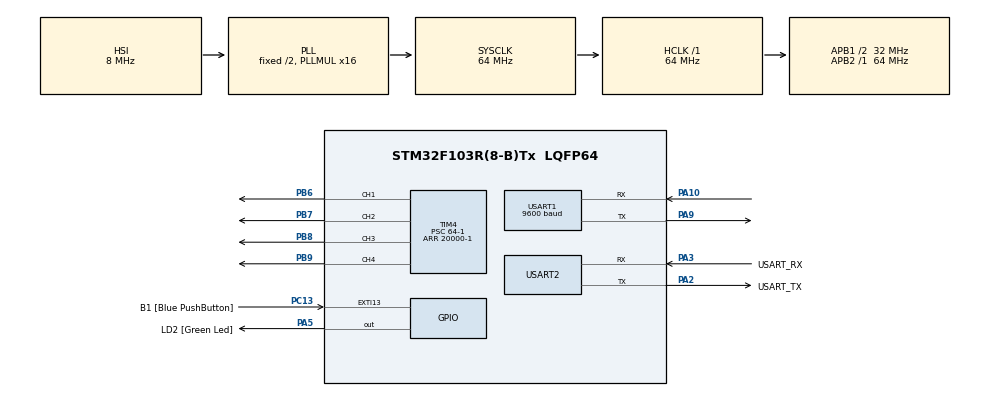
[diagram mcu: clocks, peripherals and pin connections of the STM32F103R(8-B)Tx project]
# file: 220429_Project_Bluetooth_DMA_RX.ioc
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Dma.Request0=USART1_RX
Dma.USART1_RX.0.Direction=DMA_PERIPH_TO_MEMORY
Dma.USART1_RX.0.Instance=DMA1_Channel5
Dma.USART1_RX.0.MemDataAlignment=DMA_MDATAALIGN_WORD
Dma.USART1_RX.0.MemInc=DMA_MINC_ENABLE
Dma.USART1_RX.0.Mode=DMA_CIRCULAR
Dma.USART1_RX.0.PeriphDataAlignment=DMA_PDATAALIGN_WORD
Dma.USART1_RX.0.PeriphInc=DMA_PINC_DISABLE
Dma.USART1_RX.0.Priority=DMA_PRIORITY_LOW
Mcu.Family=STM32F1
Mcu.Name=STM32F103R(8-B)Tx
Mcu.Package=LQFP64
NVIC.DMA1_Channel5_IRQn=true\:0\:0\:false\:false\:true\:false\:true\:true
NVIC.EXTI15_10_IRQn=true\:0\:0\:false\:false\:true\:true\:true\:true
NVIC.PriorityGroup=NVIC_PRIORITYGROUP_4
PA10.Mode=Asynchronous
PA10.Signal=USART1_RX
PA13.GPIO_Label=TMS
PA13.Mode=Serial_Wire
PA13.Signal=SYS_JTMS-SWDIO
PA14.GPIO_Label=TCK
PA14.Mode=Serial_Wire
PA14.Signal=SYS_JTCK-SWCLK
PA2.GPIO_Label=USART_TX
PA2.GPIO_Mode=GPIO_MODE_AF_PP
PA2.GPIO_PuPd=GPIO_NOPULL
PA2.GPIO_Speed=GPIO_SPEED_FREQ_LOW
PA2.Mode=Asynchronous
PA2.Signal=USART2_TX
PA3.GPIO_Label=USART_RX
PA3.GPIO_Mode=GPIO_MODE_AF_PP
PA3.GPIO_PuPd=GPIO_NOPULL
PA3.GPIO_Speed=GPIO_SPEED_FREQ_LOW
PA3.Mode=Asynchronous
PA3.Signal=USART2_RX
PA5.GPIO_Label=LD2 [Green Led]
PA5.GPIO_ModeDefaultOutputPP=GPIO_MODE_OUTPUT_PP
PA5.GPIO_PuPd=GPIO_NOPULL
PA5.GPIO_Speed=GPIO_SPEED_FREQ_LOW
PA5.Signal=GPIO_Output
PA9.Mode=Asynchronous
PA9.Signal=USART1_TX
PB3.GPIO_Label=SWO
PB3.Signal=SYS_JTDO-TRACESWO
PB6.Signal=S_TIM4_CH1
PB7.Signal=S_TIM4_CH2
PB8.Signal=S_TIM4_CH3
PB9.Signal=S_TIM4_CH4
PC13-TAMPER-RTC.GPIO_Label=B1 [Blue PushButton]
PC13-TAMPER-RTC.GPIO_PuPd=GPIO_NOPULL
PC13-TAMPER-RTC.Signal=GPXTI13
PC14-OSC32_IN.Mode=LSE-External-Oscillator
PC14-OSC32_IN.Signal=RCC_OSC32_IN
PC15-OSC32_OUT.Mode=LSE-External-Oscillator
PC15-OSC32_OUT.Signal=RCC_OSC32_OUT
PD0-OSC_IN.Mode=HSE-External-Clock-Source
PD0-OSC_IN.Signal=RCC_OSC_IN
PD1-OSC_OUT.Mode=HSE-External-Clock-Source
PD1-OSC_OUT.Signal=RCC_OSC_OUT
ProjectManager.HeapSize=0x200
ProjectManager.StackSize=0x400
ProjectManager.TargetToolchain=STM32CubeIDE
RCC.AHBFreq_Value=64000000
RCC.APB1CLKDivider=RCC_HCLK_DIV2
RCC.APB1Freq_Value=32000000
RCC.APB1TimFreq_Value=64000000
RCC.APB2Freq_Value=64000000
RCC.APB2TimFreq_Value=64000000
RCC.HCLKFreq_Value=64000000
RCC.PLLMUL=RCC_PLL_MUL16
RCC.RTCClockSelection=RCC_RTCCLKSOURCE_LSE
RCC.SYSCLKFreq_VALUE=64000000
RCC.SYSCLKSource=RCC_SYSCLKSOURCE_PLLCLK
RCC.USBFreq_Value=64000000
SH.S_TIM4_CH1.0=TIM4_CH1,PWM Generation1 CH1
SH.S_TIM4_CH2.0=TIM4_CH2,PWM Generation2 CH2
SH.S_TIM4_CH3.0=TIM4_CH3,PWM Generation3 CH3
SH.S_TIM4_CH4.0=TIM4_CH4,PWM Generation4 CH4
TIM4.Channel-PWM\ Generation1\ CH1=TIM_CHANNEL_1
TIM4.Channel-PWM\ Generation2\ CH2=TIM_CHANNEL_2
TIM4.Channel-PWM\ Generation3\ CH3=TIM_CHANNEL_3
TIM4.Channel-PWM\ Generation4\ CH4=TIM_CHANNEL_4
TIM4.Period=20000-1
TIM4.Prescaler=64-1
TIM4.Pulse-PWM\ Generation1\ CH1=5000
TIM4.Pulse-PWM\ Generation2\ CH2=5000
TIM4.Pulse-PWM\ Generation3\ CH3=5000
TIM4.Pulse-PWM\ Generation4\ CH4=5000
USART1.BaudRate=9600
USART1.VirtualMode=VM_ASYNC
USART2.VirtualMode=VM_ASYNC
board=NUCLEO-F103RB

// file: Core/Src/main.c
/* USER CODE BEGIN Header */
/**
  ******************************************************************************
  * @file           : main.c
  * @brief          : Main program body
  ******************************************************************************
  * @attention
  *
  * Copyright (c) 2022 STMicroelectronics.
  * All rights reserved.
  *
  * This software is licensed under terms that can be found in the LICENSE file
  * in the root directory of this software component.
  * If no LICENSE file comes with this software, it is provided AS-IS.
  *
  ******************************************************************************
  */
/* USER CODE END Header */
#include "main.h"

/* USER CODE BEGIN Includes */
#include "stdio.h"
/* USER CODE END Includes */

/* USER CODE BEGIN PTD */
#ifdef __GNUC__
/* With GCC, small printf (option LD Linker->Libraries->Small printf
   set to 'Yes') calls __io_putchar() */
#define PUTCHAR_PROTOTYPE int __io_putchar(int ch)
#else
#define PUTCHAR_PROTOTYPE int fputc(int ch, FILE *f)
#endif /* __GNUC__ */
/* USER CODE END PTD */

 TIM_HandleTypeDef htim4;

UART_HandleTypeDef huart1;
UART_HandleTypeDef huart2;
DMA_HandleTypeDef hdma_usart1_rx;

void SystemClock_Config(void);
static void MX_GPIO_Init(void);
static void MX_DMA_Init(void);
static void MX_USART2_UART_Init(void);
static void MX_TIM4_Init(void);
static void MX_USART1_UART_Init(void);

/* USER CODE BEGIN 0 */
int data[5];
int compare = 0;
int idx = 0;
uint16_t state[4][2000] = {0};
/* USER CODE END 0 */

int main(void)
{

  /* MCU Configuration--------------------------------------------------------*/

  /* Reset of all peripherals, Initializes the Flash interface and the Systick. */
  HAL_Init();

  /* Configure the system clock */
  SystemClock_Config();

  /* Initialize all configured peripherals */
  MX_GPIO_Init();
  MX_DMA_Init();
  MX_USART2_UART_Init();
  MX_TIM4_Init();
  MX_USART1_UART_Init();
  /* USER CODE BEGIN 2 */
  HAL_TIM_PWM_Start(&htim4, TIM_CHANNEL_1);
  HAL_TIM_PWM_Start(&htim4, TIM_CHANNEL_2);
  HAL_TIM_PWM_Start(&htim4, TIM_CHANNEL_3);
  HAL_TIM_PWM_Start(&htim4, TIM_CHANNEL_4);
  HAL_UART_Receive_DMA(&huart1, data, 5);
  int end_idx = 0;
  int servo[4] ={0};
  /* USER CODE END 2 */

  /* Infinite loop */
  /* USER CODE BEGIN WHILE */
  while (1)
  {
	  for(int idx =0; idx <5; idx++){
		  if(data[idx] < 50) {
			  end_idx = idx;
			  break;
		  }
	  }
	  int compare = data[end_idx];

	  for(int idx =3; idx>=0; idx--){
		  end_idx -=1;
		  if(end_idx<0){
			  end_idx +=5;
		  }
		 if(servo[idx] +1<data[end_idx] || servo[idx] -1>data[end_idx] )
		  servo[idx] = data[end_idx];
	  }

	  for(int idx =0;idx<4;idx++)
		  printf("%d ", servo[idx]);

	  printf("\r\n");

	  if(compare == 0)
	  {
		  if(state[0][0]>0){
			  for(int jdx = 0 ; jdx < 4; jdx ++){
				  for(int kdx = 0; kdx <2000; kdx ++){
					  state[jdx][kdx]=  -1;
				  }
			  }
			  idx = 0;
		  }

		  htim4.Instance -> CCR1 = servo[0] * 10;
		  htim4.Instance -> CCR2 = servo[1] * 10;
		  htim4.Instance -> CCR3 = servo[2] * 10;
		  htim4.Instance -> CCR4 = servo[3] * 10;

		  printf("adc\n\r");
	  }

	  else if(compare == 1)
	  {
		  htim4.Instance -> CCR1 = servo[0] * 10;
		  htim4.Instance -> CCR2 = servo[1] * 10;
		  htim4.Instance -> CCR3 = servo[2] * 10;
		  htim4.Instance -> CCR4 = servo[3] * 10;
		  state[0][idx] = servo[0]*10;
		  state[1][idx] = servo[1]*10;
		  state[2][idx] = servo[2]*10;
		  state[3][idx++] = servo[3]*10;
		  printf("store....\n\r\n\r");
		  HAL_Delay(20);
	  }
	  else if(compare ==2){

		  printf("replay....\n\r");
		  for(int jdx= 0; jdx<idx ; jdx++){
			  htim4.Instance -> CCR1 = state[0][jdx];
			  htim4.Instance -> CCR2 = state[1][jdx];
			  htim4.Instance -> CCR3 = state[2][jdx];
			  htim4.Instance -> CCR4 = state[3][jdx];

			  HAL_Delay(20);
		  }
	  }

    /* USER CODE END WHILE */

  }
}

void SystemClock_Config(void)
{
  RCC_OscInitTypeDef RCC_OscInitStruct = {0};
  RCC_ClkInitTypeDef RCC_ClkInitStruct = {0};

  /** Initializes the RCC Oscillators according to the specified parameters
  * in the RCC_OscInitTypeDef structure.
  */
  RCC_OscInitStruct.OscillatorType = RCC_OSCILLATORTYPE_HSI;
  RCC_OscInitStruct.HSIState = RCC_HSI_ON;
  RCC_OscInitStruct.HSICalibrationValue = RCC_HSICALIBRATION_DEFAULT;
  RCC_OscInitStruct.PLL.PLLState = RCC_PLL_ON;
  RCC_OscInitStruct.PLL.PLLSource = RCC_PLLSOURCE_HSI_DIV2;
  RCC_OscInitStruct.PLL.PLLMUL = RCC_PLL_MUL16;
  if (HAL_RCC_OscConfig(&RCC_OscInitStruct) != HAL_OK)
  {
    Error_Handler();
  }

  /** Initializes the CPU, AHB and APB buses clocks
  */
  RCC_ClkInitStruct.ClockType = RCC_CLOCKTYPE_HCLK|RCC_CLOCKTYPE_SYSCLK
                              |RCC_CLOCKTYPE_PCLK1|RCC_CLOCKTYPE_PCLK2;
  RCC_ClkInitStruct.SYSCLKSource = RCC_SYSCLKSOURCE_PLLCLK;
  RCC_ClkInitStruct.AHBCLKDivider = RCC_SYSCLK_DIV1;
  RCC_ClkInitStruct.APB1CLKDivider = RCC_HCLK_DIV2;
  RCC_ClkInitStruct.APB2CLKDivider = RCC_HCLK_DIV1;

  if (HAL_RCC_ClockConfig(&RCC_ClkInitStruct, FLASH_LATENCY_2) != HAL_OK)
  {
    Error_Handler();
  }
}

static void MX_TIM4_Init(void)
{

  TIM_MasterConfigTypeDef sMasterConfig = {0};
  TIM_OC_InitTypeDef sConfigOC = {0};

  htim4.Instance = TIM4;
  htim4.Init.Prescaler = 64-1;
  htim4.Init.CounterMode = TIM_COUNTERMODE_UP;
  htim4.Init.Period = 20000-1;
  htim4.Init.ClockDivision = TIM_CLOCKDIVISION_DIV1;
  htim4.Init.AutoReloadPreload = TIM_AUTORELOAD_PRELOAD_DISABLE;
  if (HAL_TIM_PWM_Init(&htim4) != HAL_OK)
  {
    Error_Handler();
  }
  sMasterConfig.MasterOutputTrigger = TIM_TRGO_RESET;
  sMasterConfig.MasterSlaveMode = TIM_MASTERSLAVEMODE_DISABLE;
  if (HAL_TIMEx_MasterConfigSynchronization(&htim4, &sMasterConfig) != HAL_OK)
  {
    Error_Handler();
  }
  sConfigOC.OCMode = TIM_OCMODE_PWM1;
  sConfigOC.Pulse = 5000-1;
  sConfigOC.OCPolarity = TIM_OCPOLARITY_HIGH;
  sConfigOC.OCFastMode = TIM_OCFAST_DISABLE;
  if (HAL_TIM_PWM_ConfigChannel(&htim4, &sConfigOC, TIM_CHANNEL_1) != HAL_OK)
  {
    Error_Handler();
  }
  if (HAL_TIM_PWM_ConfigChannel(&htim4, &sConfigOC, TIM_CHANNEL_2) != HAL_OK)
  {
    Error_Handler();
  }
  if (HAL_TIM_PWM_ConfigChannel(&htim4, &sConfigOC, TIM_CHANNEL_3) != HAL_OK)
  {
    Error_Handler();
  }
  if (HAL_TIM_PWM_ConfigChannel(&htim4, &sConfigOC, TIM_CHANNEL_4) != HAL_OK)
  {
    Error_Handler();
  }
  HAL_TIM_MspPostInit(&htim4);

}

static void MX_USART1_UART_Init(void)
{

  huart1.Instance = USART1;
  huart1.Init.BaudRate = 9600;
  huart1.Init.WordLength = UART_WORDLENGTH_8B;
  huart1.Init.StopBits = UART_STOPBITS_1;
  huart1.Init.Parity = UART_PARITY_NONE;
  huart1.Init.Mode = UART_MODE_TX_RX;
  huart1.Init.HwFlowCtl = UART_HWCONTROL_NONE;
  huart1.Init.OverSampling = UART_OVERSAMPLING_16;
  if (HAL_UART_Init(&huart1) != HAL_OK)
  {
    Error_Handler();
  }

}

static void MX_USART2_UART_Init(void)
{

  huart2.Instance = USART2;
  huart2.Init.BaudRate = 115200;
  huart2.Init.WordLength = UART_WORDLENGTH_8B;
  huart2.Init.StopBits = UART_STOPBITS_1;
  huart2.Init.Parity = UART_PARITY_NONE;
  huart2.Init.Mode = UART_MODE_TX_RX;
  huart2.Init.HwFlowCtl = UART_HWCONTROL_NONE;
  huart2.Init.OverSampling = UART_OVERSAMPLING_16;
  if (HAL_UART_Init(&huart2) != HAL_OK)
  {
    Error_Handler();
  }

}

static void MX_DMA_Init(void)
{

  /* DMA controller clock enable */
  __HAL_RCC_DMA1_CLK_ENABLE();

  /* DMA interrupt init */
  /* DMA1_Channel5_IRQn interrupt configuration */
  HAL_NVIC_SetPriority(DMA1_Channel5_IRQn, 0, 0);
  HAL_NVIC_EnableIRQ(DMA1_Channel5_IRQn);

}

static void MX_GPIO_Init(void)
{
  GPIO_InitTypeDef GPIO_InitStruct = {0};

  /* GPIO Ports Clock Enable */
  __HAL_RCC_GPIOC_CLK_ENABLE();
  __HAL_RCC_GPIOD_CLK_ENABLE();
  __HAL_RCC_GPIOA_CLK_ENABLE();
  __HAL_RCC_GPIOB_CLK_ENABLE();

  /*Configure GPIO pin Output Level */
  HAL_GPIO_WritePin(LD2_GPIO_Port, LD2_Pin, GPIO_PIN_RESET);

  /*Configure GPIO pin : B1_Pin */
  GPIO_InitStruct.Pin = B1_Pin;
  GPIO_InitStruct.Mode = GPIO_MODE_IT_RISING;
  GPIO_InitStruct.Pull = GPIO_NOPULL;
  HAL_GPIO_Init(B1_GPIO_Port, &GPIO_InitStruct);

  /*Configure GPIO pin : LD2_Pin */
  GPIO_InitStruct.Pin = LD2_Pin;
  GPIO_InitStruct.Mode = GPIO_MODE_OUTPUT_PP;
  GPIO_InitStruct.Pull = GPIO_NOPULL;
  GPIO_InitStruct.Speed = GPIO_SPEED_FREQ_LOW;
  HAL_GPIO_Init(LD2_GPIO_Port, &GPIO_InitStruct);

  /* EXTI interrupt init*/
  HAL_NVIC_SetPriority(EXTI15_10_IRQn, 0, 0);
  HAL_NVIC_EnableIRQ(EXTI15_10_IRQn);

}

/* USER CODE BEGIN 4 */
PUTCHAR_PROTOTYPE
{
  /* Place your implementation of fputc here */
  /* e.g. write a character to the USART1 and Loop until the end of transmission */
  HAL_UART_Transmit(&huart2,(uint8_t *)&ch, 1, 0xFFFF);

  return ch;
}

void HAL_GPIO_EXTI_Callback(uint16_t GPIO_Pin){

	if(GPIO_Pin == GPIO_PIN_8){
		compare =0;
		HAL_GPIO_WritePin(GPIOC,GPIO_PIN_3,GPIO_PIN_SET);
		HAL_GPIO_WritePin(GPIOC,GPIO_PIN_4,GPIO_PIN_RESET);
		HAL_GPIO_WritePin(GPIOC,GPIO_PIN_5,GPIO_PIN_RESET);
	}
	if(GPIO_Pin == GPIO_PIN_4){
		compare = 1;
		HAL_GPIO_WritePin(GPIOC,GPIO_PIN_3,GPIO_PIN_RESET);
		HAL_GPIO_WritePin(GPIOC,GPIO_PIN_4,GPIO_PIN_SET);
		HAL_GPIO_WritePin(GPIOC,GPIO_PIN_5,GPIO_PIN_RESET);
	}
	if(GPIO_Pin == GPIO_PIN_5){
		compare = 2;
		HAL_GPIO_WritePin(GPIOC,GPIO_PIN_3,GPIO_PIN_RESET);
		HAL_GPIO_WritePin(GPIOC,GPIO_PIN_4,GPIO_PIN_RESET);
		HAL_GPIO_WritePin(GPIOC,GPIO_PIN_5,GPIO_PIN_SET);
	}
}
/* USER CODE END 4 */

void Error_Handler(void)
{
  __disable_irq();
  while (1)
  {
  }
}
